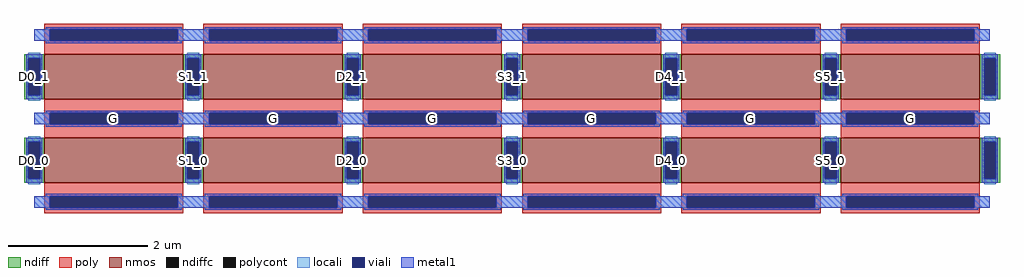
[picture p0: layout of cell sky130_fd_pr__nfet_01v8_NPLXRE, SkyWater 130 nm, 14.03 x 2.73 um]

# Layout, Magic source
magic
tech sky130A
magscale 1 2
<< nmos >>
rect -1345 55 -945 185
rect -887 55 -487 185
rect -429 55 -29 185
rect 29 55 429 185
rect 487 55 887 185
rect 945 55 1345 185
rect -1345 -185 -945 -55
rect -887 -185 -487 -55
rect -429 -185 -29 -55
rect 29 -185 429 -55
rect 487 -185 887 -55
rect 945 -185 1345 -55
<< ndiff >>
rect -1403 173 -1345 185
rect -1403 67 -1391 173
rect -1357 67 -1345 173
rect -1403 55 -1345 67
rect -945 173 -887 185
rect -945 67 -933 173
rect -899 67 -887 173
rect -945 55 -887 67
rect -487 173 -429 185
rect -487 67 -475 173
rect -441 67 -429 173
rect -487 55 -429 67
rect -29 173 29 185
rect -29 67 -17 173
rect 17 67 29 173
rect -29 55 29 67
rect 429 173 487 185
rect 429 67 441 173
rect 475 67 487 173
rect 429 55 487 67
rect 887 173 945 185
rect 887 67 899 173
rect 933 67 945 173
rect 887 55 945 67
rect 1345 173 1403 185
rect 1345 67 1357 173
rect 1391 67 1403 173
rect 1345 55 1403 67
rect -1403 -67 -1345 -55
rect -1403 -173 -1391 -67
rect -1357 -173 -1345 -67
rect -1403 -185 -1345 -173
rect -945 -67 -887 -55
rect -945 -173 -933 -67
rect -899 -173 -887 -67
rect -945 -185 -887 -173
rect -487 -67 -429 -55
rect -487 -173 -475 -67
rect -441 -173 -429 -67
rect -487 -185 -429 -173
rect -29 -67 29 -55
rect -29 -173 -17 -67
rect 17 -173 29 -67
rect -29 -185 29 -173
rect 429 -67 487 -55
rect 429 -173 441 -67
rect 475 -173 487 -67
rect 429 -185 487 -173
rect 887 -67 945 -55
rect 887 -173 899 -67
rect 933 -173 945 -67
rect 887 -185 945 -173
rect 1345 -67 1403 -55
rect 1345 -173 1357 -67
rect 1391 -173 1403 -67
rect 1345 -185 1403 -173
<< ndiffc >>
rect -1391 67 -1357 173
rect -933 67 -899 173
rect -475 67 -441 173
rect -17 67 17 173
rect 441 67 475 173
rect 899 67 933 173
rect 1357 67 1391 173
rect -1391 -173 -1357 -67
rect -933 -173 -899 -67
rect -475 -173 -441 -67
rect -17 -173 17 -67
rect 441 -173 475 -67
rect 899 -173 933 -67
rect 1357 -173 1391 -67
<< poly >>
rect -1345 257 -945 273
rect -1345 223 -1329 257
rect -961 223 -945 257
rect -1345 185 -945 223
rect -887 257 -487 273
rect -887 223 -871 257
rect -503 223 -487 257
rect -887 185 -487 223
rect -429 257 -29 273
rect -429 223 -413 257
rect -45 223 -29 257
rect -429 185 -29 223
rect 29 257 429 273
rect 29 223 45 257
rect 413 223 429 257
rect 29 185 429 223
rect 487 257 887 273
rect 487 223 503 257
rect 871 223 887 257
rect 487 185 887 223
rect 945 257 1345 273
rect 945 223 961 257
rect 1329 223 1345 257
rect 945 185 1345 223
rect -1345 17 -945 55
rect -1345 -17 -1329 17
rect -961 -17 -945 17
rect -1345 -55 -945 -17
rect -887 17 -487 55
rect -887 -17 -871 17
rect -503 -17 -487 17
rect -887 -55 -487 -17
rect -429 17 -29 55
rect -429 -17 -413 17
rect -45 -17 -29 17
rect -429 -55 -29 -17
rect 29 17 429 55
rect 29 -17 45 17
rect 413 -17 429 17
rect 29 -55 429 -17
rect 487 17 887 55
rect 487 -17 503 17
rect 871 -17 887 17
rect 487 -55 887 -17
rect 945 17 1345 55
rect 945 -17 961 17
rect 1329 -17 1345 17
rect 945 -55 1345 -17
rect -1345 -223 -945 -185
rect -1345 -257 -1329 -223
rect -961 -257 -945 -223
rect -1345 -273 -945 -257
rect -887 -223 -487 -185
rect -887 -257 -871 -223
rect -503 -257 -487 -223
rect -887 -273 -487 -257
rect -429 -223 -29 -185
rect -429 -257 -413 -223
rect -45 -257 -29 -223
rect -429 -273 -29 -257
rect 29 -223 429 -185
rect 29 -257 45 -223
rect 413 -257 429 -223
rect 29 -273 429 -257
rect 487 -223 887 -185
rect 487 -257 503 -223
rect 871 -257 887 -223
rect 487 -273 887 -257
rect 945 -223 1345 -185
rect 945 -257 961 -223
rect 1329 -257 1345 -223
rect 945 -273 1345 -257
<< polycont >>
rect -1329 223 -961 257
rect -871 223 -503 257
rect -413 223 -45 257
rect 45 223 413 257
rect 503 223 871 257
rect 961 223 1329 257
rect -1329 -17 -961 17
rect -871 -17 -503 17
rect -413 -17 -45 17
rect 45 -17 413 17
rect 503 -17 871 17
rect 961 -17 1329 17
rect -1329 -257 -961 -223
rect -871 -257 -503 -223
rect -413 -257 -45 -223
rect 45 -257 413 -223
rect 503 -257 871 -223
rect 961 -257 1329 -223
<< locali >>
rect -1374 223 -1329 257
rect -961 223 -871 257
rect -503 223 -413 257
rect -45 223 45 257
rect 413 223 503 257
rect 871 223 961 257
rect 1329 223 1374 257
rect -1391 173 -1357 189
rect -1391 51 -1357 67
rect -933 173 -899 189
rect -933 51 -899 67
rect -475 173 -441 189
rect -475 51 -441 67
rect -17 173 17 189
rect -17 51 17 67
rect 441 173 475 189
rect 441 51 475 67
rect 899 173 933 189
rect 899 51 933 67
rect 1357 173 1391 189
rect 1357 51 1391 67
rect -1374 -17 -1329 17
rect -961 -17 -871 17
rect -503 -17 -413 17
rect -45 -17 45 17
rect 413 -17 503 17
rect 871 -17 961 17
rect 1329 -17 1374 17
rect -1391 -67 -1357 -51
rect -1391 -189 -1357 -173
rect -933 -67 -899 -51
rect -933 -189 -899 -173
rect -475 -67 -441 -51
rect -475 -189 -441 -173
rect -17 -67 17 -51
rect -17 -189 17 -173
rect 441 -67 475 -51
rect 441 -189 475 -173
rect 899 -67 933 -51
rect 899 -189 933 -173
rect 1357 -67 1391 -51
rect 1357 -189 1391 -173
rect -1374 -257 -1329 -223
rect -961 -257 -871 -223
rect -503 -257 -413 -223
rect -45 -257 45 -223
rect 413 -257 503 -223
rect 871 -257 961 -223
rect 1329 -257 1374 -223
<< viali >>
rect -1329 223 -961 257
rect -871 223 -503 257
rect -413 223 -45 257
rect 45 223 413 257
rect 503 223 871 257
rect 961 223 1329 257
rect -1391 67 -1357 173
rect -933 67 -899 173
rect -475 67 -441 173
rect -17 67 17 173
rect 441 67 475 173
rect 899 67 933 173
rect 1357 67 1391 173
rect -1329 -17 -961 17
rect -871 -17 -503 17
rect -413 -17 -45 17
rect 45 -17 413 17
rect 503 -17 871 17
rect 961 -17 1329 17
rect -1391 -173 -1357 -67
rect -933 -173 -899 -67
rect -475 -173 -441 -67
rect -17 -173 17 -67
rect 441 -173 475 -67
rect 899 -173 933 -67
rect 1357 -173 1391 -67
rect -1329 -257 -961 -223
rect -871 -257 -503 -223
rect -413 -257 -45 -223
rect 45 -257 413 -223
rect 503 -257 871 -223
rect 961 -257 1329 -223
<< metal1 >>
rect -1341 257 -949 263
rect -883 257 -491 263
rect -425 257 -33 263
rect 33 257 425 263
rect 491 257 883 263
rect 949 257 1341 263
rect -1374 223 -1329 257
rect -961 223 -871 257
rect -503 223 -413 257
rect -45 223 45 257
rect 413 223 503 257
rect 871 223 961 257
rect 1329 223 1374 257
rect -1341 217 -949 223
rect -883 217 -491 223
rect -425 217 -33 223
rect 33 217 425 223
rect 491 217 883 223
rect 949 217 1341 223
rect -1397 173 -1351 185
rect -1397 67 -1391 173
rect -1357 67 -1351 173
rect -1397 55 -1351 67
rect -939 173 -893 185
rect -939 67 -933 173
rect -899 67 -893 173
rect -939 55 -893 67
rect -481 173 -435 185
rect -481 67 -475 173
rect -441 67 -435 173
rect -481 55 -435 67
rect -23 173 23 185
rect -23 67 -17 173
rect 17 67 23 173
rect -23 55 23 67
rect 435 173 481 185
rect 435 67 441 173
rect 475 67 481 173
rect 435 55 481 67
rect 893 173 939 185
rect 893 67 899 173
rect 933 67 939 173
rect 893 55 939 67
rect 1351 173 1397 185
rect 1351 67 1357 173
rect 1391 67 1397 173
rect 1351 55 1397 67
rect -1341 17 -949 23
rect -883 17 -491 23
rect -425 17 -33 23
rect 33 17 425 23
rect 491 17 883 23
rect 949 17 1341 23
rect -1374 -17 -1329 17
rect -961 -17 -871 17
rect -503 -17 -413 17
rect -45 -17 45 17
rect 413 -17 503 17
rect 871 -17 961 17
rect 1329 -17 1374 17
rect -1341 -23 -949 -17
rect -883 -23 -491 -17
rect -425 -23 -33 -17
rect 33 -23 425 -17
rect 491 -23 883 -17
rect 949 -23 1341 -17
rect -1397 -67 -1351 -55
rect -1397 -173 -1391 -67
rect -1357 -173 -1351 -67
rect -1397 -185 -1351 -173
rect -939 -67 -893 -55
rect -939 -173 -933 -67
rect -899 -173 -893 -67
rect -939 -185 -893 -173
rect -481 -67 -435 -55
rect -481 -173 -475 -67
rect -441 -173 -435 -67
rect -481 -185 -435 -173
rect -23 -67 23 -55
rect -23 -173 -17 -67
rect 17 -173 23 -67
rect -23 -185 23 -173
rect 435 -67 481 -55
rect 435 -173 441 -67
rect 475 -173 481 -67
rect 435 -185 481 -173
rect 893 -67 939 -55
rect 893 -173 899 -67
rect 933 -173 939 -67
rect 893 -185 939 -173
rect 1351 -67 1397 -55
rect 1351 -173 1357 -67
rect 1391 -173 1397 -67
rect 1351 -185 1397 -173
rect -1341 -223 -949 -217
rect -883 -223 -491 -217
rect -425 -223 -33 -217
rect 33 -223 425 -217
rect 491 -223 883 -217
rect 949 -223 1341 -217
rect -1374 -257 -1329 -223
rect -961 -257 -871 -223
rect -503 -257 -413 -223
rect -45 -257 45 -223
rect 413 -257 503 -223
rect 871 -257 961 -223
rect 1329 -257 1374 -223
rect -1341 -263 -949 -257
rect -883 -263 -491 -257
rect -425 -263 -33 -257
rect 33 -263 425 -257
rect 491 -263 883 -257
rect 949 -263 1341 -257
<< labels >>
rlabel ndiffc -1374 -120 -1374 -120 0 D0_0
port 1 nsew
rlabel polycont -1145 0 -1145 0 0 G
port 2 nsew
rlabel ndiffc -1374 120 -1374 120 0 D0_1
port 3 nsew
rlabel ndiffc -916 -120 -916 -120 0 S1_0
port 4 nsew
rlabel polycont -687 0 -687 0 0 G
port 2 nsew
rlabel ndiffc -916 120 -916 120 0 S1_1
port 5 nsew
rlabel ndiffc -458 -120 -458 -120 0 D2_0
port 6 nsew
rlabel polycont -229 0 -229 0 0 G
port 2 nsew
rlabel ndiffc -458 120 -458 120 0 D2_1
port 7 nsew
rlabel ndiffc 0 -120 0 -120 0 S3_0
port 8 nsew
rlabel polycont 229 0 229 0 0 G
port 2 nsew
rlabel ndiffc 0 120 0 120 0 S3_1
port 9 nsew
rlabel ndiffc 458 -120 458 -120 0 D4_0
port 10 nsew
rlabel polycont 687 0 687 0 0 G
port 2 nsew
rlabel ndiffc 458 120 458 120 0 D4_1
port 11 nsew
rlabel ndiffc 916 -120 916 -120 0 S5_0
port 12 nsew
rlabel polycont 1145 0 1145 0 0 G
port 2 nsew
rlabel ndiffc 916 120 916 120 0 S5_1
port 13 nsew
<< properties >>
string gencell sky130_fd_pr__nfet_01v8
string library sky130
string parameters w 0.65 l 2 m 2 nf 6 diffcov 100 polycov 100 guard 0 glc 0 grc 0 gtc 0 gbc 0 tbcov 100 rlcov 100 topc 1 botc 1 poverlap 1 doverlap 1 lmin 0.15 wmin 0.42 class mosfet compatible {sky130_fd_pr__nfet_01v8 sky130_fd_pr__nfet_01v8_lvt  sky130_fd_bs_flash__special_sonosfet_star  sky130_fd_pr__nfet_g5v0d10v5 sky130_fd_pr__nfet_05v0_nvt  sky130_fd_pr__nfet_03v3_nvt} full_metal 0 conn_gates 1 viasrc 100 viadrn 100 viagate 100 viagb 0 viagr 0 viagl 0 viagt 0 doports 1
<< end >>
